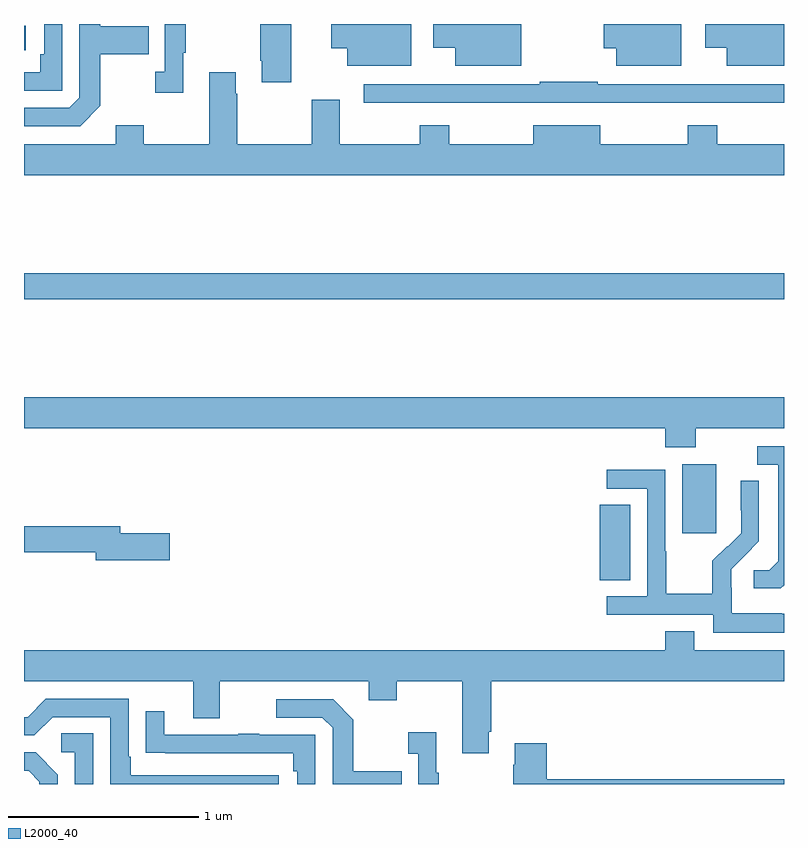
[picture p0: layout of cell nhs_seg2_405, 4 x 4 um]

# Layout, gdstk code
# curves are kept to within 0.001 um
import gdstk
lib = gdstk.Library(unit=1e-6, precision=1e-09)
def R(c, l, rs):  # rectangles x0, y0, x1, y1
    for r in rs: c.add(gdstk.rectangle(r[:2], r[2:], *l))
def P(c, l, *ps):  # polygons
    for p in ps: c.add(gdstk.Polygon(p, *l))
L2000_40 = (2000, 40)

nhs_seg2_405 = lib.new_cell('nhs_seg2_405')
R(nhs_seg2_405, L2000_40, [(134.03,610.873,134.191,611.27), (134.465,611.121,134.644,611.482), (131,612.352,135,612.488), (131,613.662,131.008,613.792)])
P(nhs_seg2_405, L2000_40, [(131.839,613.649),(131.851,613.649),(131.851,613.8),(131.742,613.8),(131.742,613.55),(131.691,613.55),(131.691,613.437),(131.839,613.437)],
  [(133.039,613.8),(132.617,613.8),(132.617,613.673),(132.701,613.673),(132.701,613.58),(133.039,613.58)],
  [(131.401,613.369),(131.401,613.642),(131.657,613.642),(131.657,613.789),(131.401,613.789),(131.401,613.8),(131.292,613.8),(131.292,613.413),(131.238,613.359),(131,613.359),(131,613.263),(131.295,613.263)],
  [(131.202,613.8),(131.106,613.8),(131.106,613.642),(131.086,613.642),(131.086,613.545),(131,613.545),(131,613.449),(131.202,613.449)],
  [(135,613.8),(134.585,613.8),(134.585,613.676),(134.699,613.676),(134.699,613.58),(135,613.58)],
  [(132.406,613.8),(132.244,613.8),(132.244,613.606),(132.251,613.606),(132.251,613.494),(132.406,613.494)],
  [(134.458,613.8),(134.052,613.8),(134.052,613.673),(134.117,613.673),(134.117,613.58),(134.458,613.58)],
  [(133.618,613.8),(133.275,613.8),(133.275,613.798),(133.154,613.798),(133.154,613.676),(133.271,613.676),(133.271,613.58),(133.618,613.58)],
  [(135,613.168),(134.649,613.168),(134.649,613.267),(134.494,613.267),(134.494,613.168),(134.032,613.168),(134.032,613.267),(133.679,613.267),(133.679,613.168),(133.239,613.168),(133.239,613.267),(133.084,613.267),(133.084,613.168),(132.661,613.168),(132.661,613.402),(132.514,613.402),(132.514,613.168),(132.123,613.168),(132.123,613.433),(132.115,613.433),(132.115,613.546),(131.975,613.546),(131.975,613.168),(131.631,613.168),(131.631,613.267),(131.483,613.267),(131.483,613.168),(131,613.168),(131,613.004),(135,613.004)],
  [(133.583,613.386),(134.128,613.386),(134.128,613.385),(134.405,613.385),(134.405,613.386),(134.737,613.386),(134.737,613.385),(134.993,613.385),(134.993,613.386),(135,613.386),(135,613.482),(134.021,613.482),(134.021,613.495),(133.714,613.495),(133.714,613.482),(132.789,613.482),(132.789,613.386),(133.327,613.386),(133.327,613.385),(133.583,613.385)],
  [(134.535,611.672),(135,611.672),(135,611.836),(131,611.836),(131,611.672),(134.375,611.672),(134.375,611.573),(134.535,611.573)],
  [(135,610.845),(135,611.577),(134.859,611.577),(134.859,611.481),(134.969,611.481),(134.969,610.973),(134.922,610.926),(134.841,610.926),(134.841,610.829),(134.984,610.829)],
  [(135,610.695),(134.987,610.695),(134.987,610.699),(134.724,610.699),(134.724,610.833),(134.722,610.833),(134.722,610.93),(134.868,611.078),(134.868,611.396),(134.772,611.396),(134.772,611.242),(134.774,611.242),(134.774,611.12),(134.703,611.049),(134.7,611.052),(134.623,610.975),(134.623,610.801),(134.379,610.801),(134.379,611.024),(134.376,611.024),(134.376,611.454),(134.067,611.454),(134.067,611.355),(134.28,611.355),(134.28,610.788),(134.067,610.788),(134.067,610.692),(134.628,610.692),(134.628,610.595),(135,610.595)],
  [(131.767,611.12),(131.506,611.12),(131.506,611.156),(131,611.156),(131,611.02),(131.378,611.02),(131.378,610.978),(131.767,610.978)],
  [(133.447,610.075),(133.46,610.075),(133.46,610.34),(135,610.34),(135,610.504),(134.527,610.504),(134.527,610.603),(134.375,610.603),(134.375,610.504),(131,610.504),(131,610.34),(131.891,610.34),(131.891,610.146),(132.031,610.146),(132.031,610.34),(132.815,610.34),(132.815,610.241),(132.963,610.241),(132.963,610.34),(133.307,610.34),(133.307,609.963),(133.447,609.963)],
  [(132.34,609.846),(131.563,609.846),(131.563,609.943),(131.55,609.943),(131.55,610.248),(131.115,610.248),(131.019,610.152),(131,610.152),(131,610.056),(131.055,610.056),(131.151,610.152),(131.454,610.152),(131.454,609.8),(132.34,609.8)],
  [(132.989,609.867),(132.733,609.867),(132.733,610.139),(132.627,610.245),(132.327,610.245),(132.327,610.149),(132.57,610.149),(132.624,610.095),(132.624,609.8),(132.989,609.8)],
  [(132.534,610.059),(132.239,610.059),(132.239,610.064),(132.127,610.064),(132.127,610.059),(131.737,610.059),(131.737,610.183),(131.641,610.183),(131.641,609.964),(131.743,609.964),(131.743,609.963),(132.418,609.963),(132.418,609.866),(132.438,609.866),(132.438,609.8),(132.534,609.8)],
  [(133.183,609.859),(133.171,609.859),(133.171,610.072),(133.023,610.072),(133.023,609.959),(133.074,609.959),(133.074,609.8),(133.183,609.8)],
  [(131.364,610.067),(131.196,610.067),(131.196,609.966),(131.268,609.966),(131.268,609.8),(131.364,609.8)],
  [(135,609.824),(133.751,609.824),(133.751,610.015),(133.583,610.015),(133.583,609.902),(133.576,609.902),(133.576,609.8),(135,609.8)],
  [(131.178,609.85),(131.062,609.966),(131,609.966),(131,609.87),(131.024,609.87),(131.081,609.813),(131.081,609.8),(131.178,609.8)])

lib.write_gds('nhs_seg2_405.gds')
